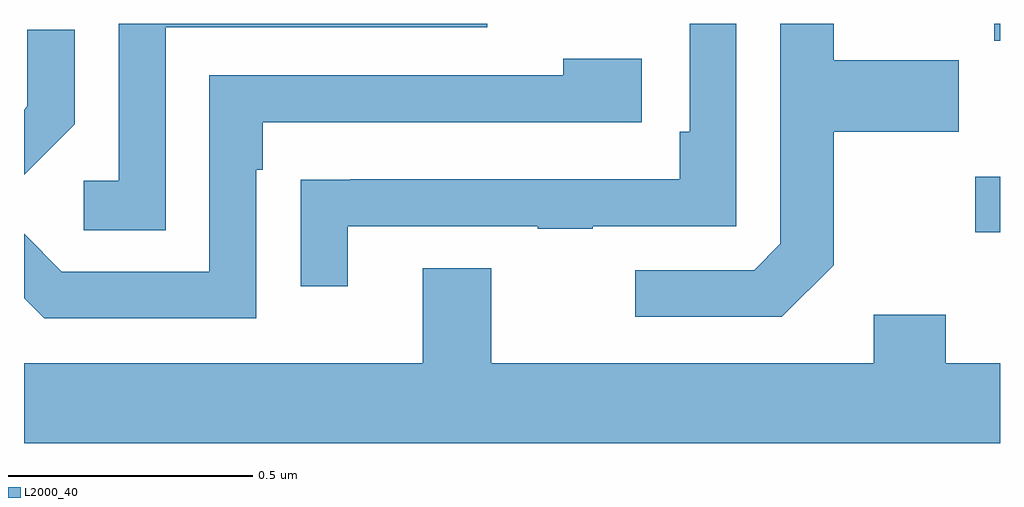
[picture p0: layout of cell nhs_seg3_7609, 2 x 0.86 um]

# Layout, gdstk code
import gdstk
lib = gdstk.Library(unit=1e-6, precision=1e-09)
def R(c, l, rs):  # rectangles x0, y0, x1, y1
    for r in rs: c.add(gdstk.rectangle(r[:2], r[2:], *l))
def P(c, l, *ps):  # polygons
    for p in ps: c.add(gdstk.Polygon(p, *l))
L2000_40 = (2000, 40)

nhs_seg3_7609 = lib.new_cell('nhs_seg3_7609')
R(nhs_seg3_7609, L2000_40, [(206.949,743.973,207,744.086), (206.988,744.365,207,744.4)])
P(nhs_seg3_7609, L2000_40, [(205.29,744.393),(205.949,744.393),(205.949,744.4),(205.194,744.4),(205.194,744.078),(205.122,744.078),(205.122,743.977),(205.29,743.977)],
  [(206.659,743.905),(206.659,744.178),(206.915,744.178),(206.915,744.325),(206.659,744.325),(206.659,744.4),(206.55,744.4),(206.55,743.949),(206.496,743.895),(206.253,743.895),(206.253,743.799),(206.553,743.799)],
  [(205.663,743.985),(206.053,743.985),(206.053,743.98),(206.165,743.98),(206.165,743.985),(206.46,743.985),(206.46,744.4),(206.364,744.4),(206.364,744.178),(206.344,744.178),(206.344,744.081),(205.669,744.081),(205.669,744.08),(205.567,744.08),(205.567,743.862),(205.663,743.862)],
  [(205.104,744.194),(205.104,744.388),(205.007,744.388),(205.007,744.231),(205,744.224),(205,744.09)],
  [(205.476,744.101),(205.489,744.101),(205.489,744.198),(206.266,744.198),(206.266,744.328),(206.105,744.328),(206.105,744.294),(205.38,744.294),(205.38,743.892),(205.077,743.892),(205,743.969),(205,743.837),(205.041,743.796),(205.476,743.796)],
  [(207,743.704),(206.889,743.704),(206.889,743.803),(206.741,743.803),(206.741,743.704),(205.957,743.704),(205.957,743.899),(205.817,743.899),(205.817,743.704),(205,743.704),(205,743.54),(207,743.54)])

lib.write_gds('nhs_seg3_7609.gds')
